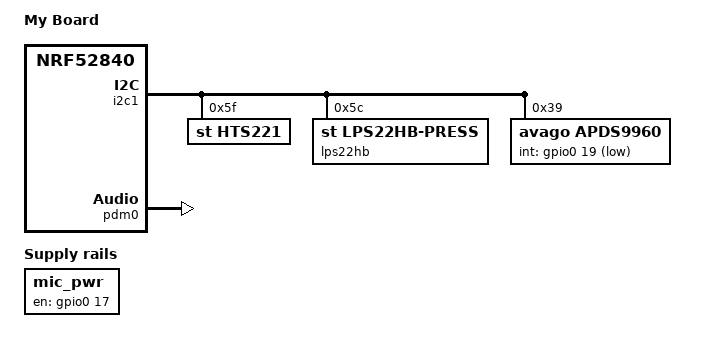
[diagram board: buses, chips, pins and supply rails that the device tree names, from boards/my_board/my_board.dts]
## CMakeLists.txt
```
cmake_minimum_required(VERSION 3.20.0)
list(APPEND BOARD_ROOT ${CMAKE_CURRENT_SOURCE_DIR})
#set(EXTRA_DTC_OVERLAY_FILE "${CMAKE_CURRENT_SOURCE_DIR}/boards/app.overlay")
find_package(Zephyr REQUIRED)
project(my_zephyr_app)
#target_sources(app PRIVATE drivers/our_driver/our_driver.c)
#zephyr_library_sources(our_driver.c)
target_sources(app PRIVATE src/main.cpp)
add_subdirectory(drivers/our_driver)
```

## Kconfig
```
#------------first example-------------------------#

#config BLINK_SLEEP_TIME_MS
#        int "LED prompt"
#        default 1000
#        range 100 5000
#        help
#            help string for user can be multiline
#            like this!! This is just a demo

#source "Kconfig.zephyr"


#---------second example----------------------------#

#choice 
#    prompt "LED Blink Speed"
#    default BLINK_SLEEP_TIME_1000MS
#config BLINK_SLEEP_TIME_250MS
#    bool "Fast (250ms)"
#config BLINK_SLEEP_TIME_1000MS
#    bool "Medium (1s)"
#config BLINK_SLEEP_TIME_2000MS
#    bool "Slow (2s)"    
#
#endchoice

#config BLINK_SLEEP_TIME_MS
#        int 
#        default 250 if BLINK_SLEEP_TIME_250MS
#        default 1000 if BLINK_SLEEP_TIME_1000MS
#        default 2000 if BLINK_SLEEP_TIME_2000MS
#        default 0
#source "Kconfig.zephyr"


#------------Homework l3-task1 -------------------------#

#menuconfig LED_SUBSYSTEM
#    bool "LED Subsystem"
#    default y

#    if LED_SUBSYSTEM
#        choice 
#            prompt "LED Blink sleep time"
#            default BLINK_SLEEP_TIME_1000MS
#            config BLINK_SLEEP_TIME_250MS
#            bool "Very Fast (250ms)"
#            config BLINK_SLEEP_TIME_500MS
#            bool "Fast (500ms)"
#            config BLINK_SLEEP_TIME_1000MS
#            bool "Medium (1s)"
#            config BLINK_SLEEP_TIME_2000MS
#            bool "Slow (2s)"    

#        endchoice
#        config BLINK_SLEEP_TIME_MS
#            int 
#            default 250 if BLINK_SLEEP_TIME_250MS
#            default 500 if BLINK_SLEEP_TIME_500MS
#            default 1000 if BLINK_SLEEP_TIME_1000MS
#            default 2000 if BLINK_SLEEP_TIME_2000MS
#            default 0 #okay
   
#        menuconfig ADVANCED_LED_SETTINGS
#            bool "Advanced LED settings"
#            default y

#            if ADVANCED_LED_SETTINGS
#                config LED_BRIGHTNESS
#                    int "LED brightness(0-100)"
#                    range 0 100
#                    default 100
#                config LED_FADE_DURATION
#                    int "LED fade duration(ms)"
#                    range 0 5000
#                    default 500
                
#                menu "EXPERT_SETTINGS" 
#                    visible if LED_BRIGHTNESS!=0
#                    config LED_DEBUG
#                        bool "Enable LED debugging"
#                        default y
#                    config CUSTOM_LED_BLINK_PATTERN
#                        bool "Enable custom blink pattern"
#                        default y
#                endmenu
#            endif #AdvancedLEDsettings
#     endif #LEDSUBSYSTEM

#----------------------Homework L4 task 1------------------------------------------#

#menuconfig HEARTBEAT_LED
#    bool "Heartbeat LED"
#    default y
#    if HEARTBEAT_LED
#        config APP_HEARTBEAT_PERIOD_MS
#            int "LED pulsing speed (ms)"
#            default 500
#            range 100 2000
#    endif
#source "Kconfig.zephyr"
#-------------------Homework L6 task 1&2-------------------------------------------#
menuconfig LED_DEVICE_DRIVER
    bool "Device Driver LED"
    default y
    if LED_DEVICE_DRIVER
        config SLEEP_TIME_MS
            int "LED pulsing speed (ms)"
            default 1000
            range 200 3000
    endif
source "Kconfig.zephyr"
rsource "drivers/our_driver/Kconfig"
```

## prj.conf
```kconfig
CONFIG_GPIO=y
CONFIG_LOG=y
#CONFIG_BLINK_SLEEP_TIME_2000MS=y #this assignment is okay as it only turns on/off the 2000/250/1000 ms delay feature which
                                # is already coded in the choice in Kconfig but as the user prompt is hidden, the following
                                #assignment gives an error when we try to build it
#CONFIG_BLINK_SLEEP_TIME_MS=1000 # error: BLINK_SLEEP_TIME_MS (defined at C:/ncsfund/zephyr-course/app/Kconfig:29) is assigned in a
                                #configuration file, but is not directly user-configurable (has no prompt). It gets its value
                                #indirectly from other symbols.
#CONFIG_APP_HEARTBEAT_PERIOD_MS=600  

#L6 task1
CONFIG_SLEEP_TIME_MS=500
CONFIG_SENSOR=y
CONFIG_OUR_DRIVER=y
CONFIG_LOG_BACKEND_UART=y
CONFIG_UART_CONSOLE=y
CONFIG_CONSOLE=y
CONFIG_USB_DEVICE_STACK=y
CONFIG_USB_CDC_ACM=y
CONFIG_USB_DEVICE_INITIALIZE_AT_BOOT=y
CONFIG_BOOT_DELAY=2000 
```

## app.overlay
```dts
//This is the device tree node for a simple led driver
/ {
    our_driver0:our_driver{
        compatible = "our,driver";
        status = "okay"; // other value as "disabled"
    };
};
//    aliases{
//        app-led = &led2; //alias app_led pointing to red LED aka &led0 GPIO0 pin 24 on the nano33 board
//    };

/ {
    chosen {
        zephyr,console = &cdc_acm_uart0;
        zephyr,shell-uart = &cdc_acm_uart0;
    };
};

&zephyr_udc0 {
    cdc_acm_uart0: cdc_acm_uart0 {
        compatible = "zephyr,cdc-acm-uart";
    };
};
```

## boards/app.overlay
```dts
/* ----practicing with aliases---------------

/{
    aliases{
        my-red-led = &red_led;
    };
};

*/
//--------------------------Homework L4 task 1----------------------------------------------------------

/{
    aliases{
        app-led = &led0; //alias app_led pointing to red LED aka &led0 GPIO0 pin 24 on the nano33 board
    };
};
```

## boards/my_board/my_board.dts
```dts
/*
 * Copyright (c) 2020 Jefferson Lee
 *
 * SPDX-License-Identifier: Apache-2.0
 */
/dts-v1/;
#include <nordic/nrf52840_qiaa.dtsi>
#include "arduino_nano_33_ble-common.dtsi"
#include "arduino_nano_33_ble-pinctrl.dtsi"
#include "arduino_nano_connector.dtsi"

/ {
	model = "My Board";
	compatible = "neil,my_board";

	mic_pwr: mic_pwr {
		compatible = "regulator-fixed";
		regulator-name = "mic_pwr";
		enable-gpios = <&gpio0 17 GPIO_ACTIVE_HIGH>;
		regulator-boot-on;
	};
};


&i2c1 {
	hts221: hts221@5f {
		compatible = "st,hts221";
		status = "okay";
		reg = <0x5f>;
	};

	lps22hb: lps22hb-press@5c {
		compatible = "st,lps22hb-press";
		status = "okay";
		reg = <0x5c>;
	};

	apds9960: apds9960@39 {
		compatible = "avago,apds9960";
		status = "okay";
		reg = <0x39>;
		int-gpios = <&gpio0 19 (GPIO_ACTIVE_LOW | GPIO_PULL_UP)>;
	};
};

dmic_dev: &pdm0 {
	status = "okay";
	pinctrl-0 = <&pdm0_default>;
	pinctrl-1 = <&pdm0_sleep>;
	pinctrl-names = "default", "sleep";
	clock-source = "PCLK32M_HFXO";
};
```

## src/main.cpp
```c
#include <zephyr/drivers/gpio.h>
#include <zephyr/kernel.h>
#include <zephyr/logging/log.h>


//----------------------BEFORE Lecture 6 uncomment and check for specific example or homework here-----------------------------


//#define BLINK_SLEEP_TIME_MS 1000
//#define APP_HEARTBEAT_PERIOD_MS 500
//-----------------Playing around with devicetree aliases and nodes for RGB LED-----------------------------
/* The devicetree node identifier for the "led0" alias. */
//#define LED_NODE DT_ALIAS(led1)
/*Now we make a DT_NODE_LABEL reference to our overlay references*/
//#define LED_NODE DT_NODELABEL(blue_led)
/*Now we access the green led using the path method although rarely used in production*/
//#define LED_NODE DT_PATH(leds, led6)
/*Now lastly we use DT_ALIAS to access a newly created alias my_red_led in my_own.overlay file*/
//#define LED_NODE DT_ALIAS(my_red_led)
//-----------------------------------------------------------------------------------------------------------
//---------------------homework L4 task1---------------------------------------------------------
/*#define LED_NODE DT_ALIAS(app_led)
//------------------------------------------------------------------------------------------------
static const struct gpio_dt_spec led = GPIO_DT_SPEC_GET(LED_NODE, gpios);

LOG_MODULE_REGISTER(main, LOG_LEVEL_INF);

int main(void)
{
    bool led_state = true;

    if (!gpio_is_ready_dt(&led)) return 0;

    if (gpio_pin_configure_dt(&led, GPIO_OUTPUT_ACTIVE) < 0) return 0;

    while (1) {
        if (gpio_pin_toggle_dt(&led) < 0) return 0;

        led_state = !led_state;
        LOG_INF("LED state: %s", led_state ? "ON" : "OFF");
        //k_msleep(BLINK_SLEEP_TIME_MS);
        //k_msleep(CONFIG_BLINK_SLEEP_TIME_MS);
        //---------------------homework L4 task1---------------------------------------------------------
        k_msleep(CONFIG_APP_HEARTBEAT_PERIOD_MS);
    }
    return 0;
}*/
//------------------------------------Homeworks or example demos lecture 6 driver dev onwards---------------------------
#include<zephyr/drivers/sensor.h>

#define SLEEP_TIME_MS 1000

#define LED_NODE DT_ALIAS(led2)
//#define our_driver0 DT_NODE_LABEL(our_driver0)

static const struct gpio_dt_spec led = GPIO_DT_SPEC_GET(LED_NODE, gpios);

LOG_MODULE_REGISTER(main, LOG_LEVEL_INF);

namespace{
    void test(){
        const struct device* driver = DEVICE_DT_GET(DT_NODELABEL(our_driver0));
        struct sensor_value val;
        auto ret = sensor_channel_get(driver, SENSOR_CHAN_AMBIENT_TEMP, &val);
        LOG_INF("Channel ret %d",ret);
    }
}

int main(void){
    test();
    bool led_state = true;
    if(!gpio_is_ready_dt(&led)) return 0;
    if (gpio_pin_configure_dt(&led, GPIO_OUTPUT_ACTIVE) < 0) return 0;
    while (1) {
        if (gpio_pin_toggle_dt(&led) < 0) return 0;
        led_state = !led_state;
        LOG_INF("LED state: %s", led_state ? "ON" : "OFF");
        k_msleep(SLEEP_TIME_MS);
        //k_msleep(CONFIG_BLINK_SLEEP_TIME_MS);
        //---------------------homework L4 task1---------------------------------------------------------
        //k_msleep(CONFIG_APP_HEARTBEAT_PERIOD_MS);
    }
    return 0;
}
```
